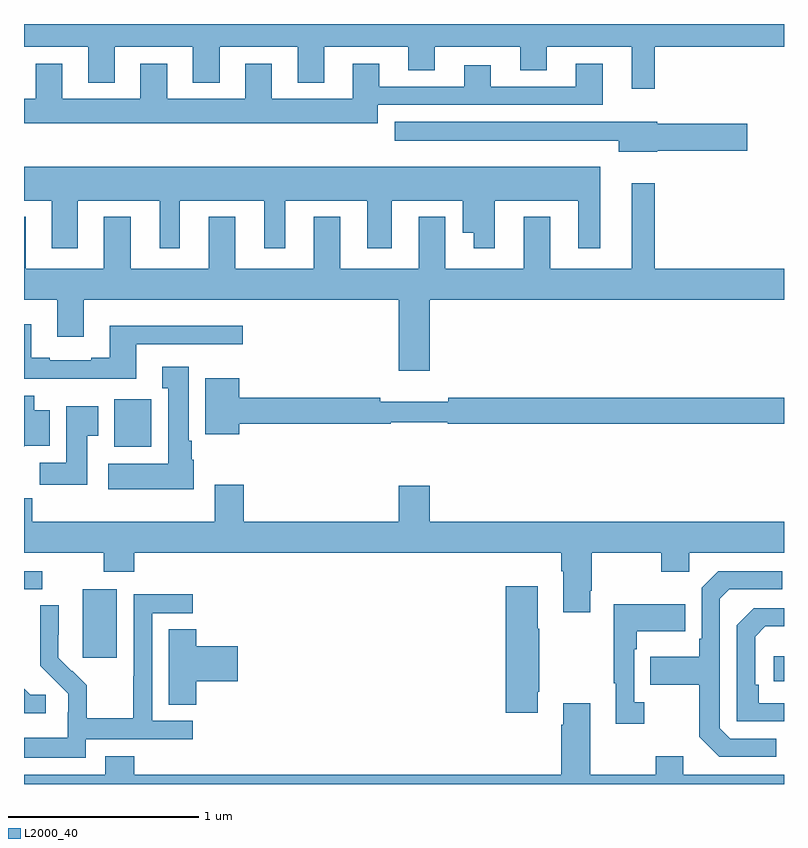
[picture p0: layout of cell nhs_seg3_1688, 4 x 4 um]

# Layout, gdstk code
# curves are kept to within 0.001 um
import gdstk
lib = gdstk.Library(unit=1e-6, precision=1e-09)
def R(c, l, rs):  # rectangles x0, y0, x1, y1
    for r in rs: c.add(gdstk.rectangle(r[:2], r[2:], *l))
def P(c, l, *ps):  # polygons
    for p in ps: c.add(gdstk.Polygon(p, *l))
L2000_40 = (2000, 40)

nhs_seg3_1688 = lib.new_cell('nhs_seg3_1688')
R(nhs_seg3_1688, L2000_40, [(202.947,666.942,203,667.072), (199.31,667.065,199.489,667.426), (199,667.425,199.096,667.521), (199.475,668.174,199.671,668.425)])
P(nhs_seg3_1688, L2000_40, [(202.321,670.28),(203,670.28),(203,670.4),(199,670.4),(199,670.28),(199.337,670.28),(199.337,670.091),(199.477,670.091),(199.477,670.28),(199.889,670.28),(199.889,670.091),(200.029,670.091),(200.029,670.28),(200.441,670.28),(200.441,670.091),(200.581,670.091),(200.581,670.28),(201.023,670.28),(201.023,670.156),(201.163,670.156),(201.163,670.28),(201.611,670.28),(201.611,670.156),(201.751,670.156),(201.751,670.28),(202.199,670.28),(202.199,670.059),(202.321,670.059)],
  [(200.863,669.975),(202.045,669.975),(202.045,670.192),(201.905,670.192),(201.905,670.071),(201.457,670.071),(201.457,670.183),(201.317,670.183),(201.317,670.071),(200.869,670.071),(200.869,670.192),(200.729,670.192),(200.729,670.006),(200.305,670.006),(200.305,670.192),(200.165,670.192),(200.165,670.006),(199.753,670.006),(199.753,670.192),(199.613,670.192),(199.613,670.006),(199.201,670.006),(199.201,670.192),(199.061,670.192),(199.061,670.006),(199,670.006),(199,669.878),(200.863,669.878)],
  [(202.332,669.734),(202.807,669.734),(202.807,669.876),(202.332,669.876),(202.332,669.886),(200.952,669.886),(200.952,669.785),(202.13,669.785),(202.13,669.728),(202.332,669.728)],
  [(199.282,669.47),(199.715,669.47),(199.715,669.219),(199.819,669.219),(199.819,669.47),(200.264,669.47),(200.264,669.219),(200.374,669.219),(200.374,669.47),(200.807,669.47),(200.807,669.219),(200.935,669.219),(200.935,669.47),(201.308,669.47),(201.308,669.302),(201.368,669.302),(201.368,669.219),(201.478,669.219),(201.478,669.47),(201.917,669.47),(201.917,669.219),(202.033,669.219),(202.033,669.649),(199,669.649),(199,669.47),(199.145,669.47),(199.145,669.219),(199.282,669.219)],
  [(201.136,668.948),(203,668.948),(203,669.112),(202.321,669.112),(202.321,669.562),(202.199,669.562),(202.199,669.112),(201.769,669.112),(201.769,669.385),(201.629,669.385),(201.629,669.112),(201.217,669.112),(201.217,669.385),(201.077,669.385),(201.077,669.112),(200.665,669.112),(200.665,669.385),(200.525,669.385),(200.525,669.112),(200.113,669.112),(200.113,669.385),(199.973,669.385),(199.973,669.112),(199.561,669.112),(199.561,669.385),(199.421,669.385),(199.421,669.112),(199.009,669.112),(199.009,669.385),(199,669.385),(199,668.948),(199.175,668.948),(199.175,668.754),(199.315,668.754),(199.315,668.948),(200.972,668.948),(200.972,668.574),(201.136,668.574)],
  [(199.591,668.715),(200.152,668.715),(200.152,668.812),(199.451,668.812),(199.451,668.644),(199.355,668.644),(199.355,668.631),(199.135,668.631),(199.135,668.644),(199.039,668.644),(199.039,668.821),(199,668.821),(199,668.534),(199.591,668.534)],
  [(199.894,668.106),(199.882,668.106),(199.882,668.206),(199.867,668.206),(199.867,668.596),(199.727,668.596),(199.727,668.483),(199.76,668.483),(199.76,668.086),(199.443,668.086),(199.443,667.952),(199.894,667.952)],
  [(200.134,668.296),(200.93,668.296),(200.93,668.304),(201.23,668.304),(201.23,668.296),(203,668.296),(203,668.432),(201.232,668.432),(201.232,668.413),(200.876,668.413),(200.876,668.432),(200.134,668.432),(200.134,668.536),(199.955,668.536),(199.955,668.24),(200.134,668.24)],
  [(199.002,668.18),(199.135,668.18),(199.135,668.368),(199.054,668.368),(199.054,668.443),(199,668.443),(199,668.174),(199.002,668.174)],
  [(199.333,668.233),(199.39,668.233),(199.39,668.389),(199.223,668.389),(199.223,668.092),(199.084,668.092),(199.084,667.974),(199.333,667.974)],
  [(201.979,667.417),(201.987,667.417),(201.987,667.616),(202.354,667.616),(202.354,667.517),(202.5,667.517),(202.5,667.616),(203,667.616),(203,667.78),(201.136,667.78),(201.136,667.969),(200.972,667.969),(200.972,667.78),(200.156,667.78),(200.156,667.975),(200.003,667.975),(200.003,667.78),(199.043,667.78),(199.043,667.904),(199,667.904),(199,667.616),(199.42,667.616),(199.42,667.517),(199.58,667.517),(199.58,667.616),(201.827,667.616),(201.827,667.52),(201.839,667.52),(201.839,667.305),(201.979,667.305)],
  [(202.96,666.639),(202.716,666.639),(202.662,666.693),(202.662,667.374),(202.713,667.425),(202.99,667.425),(202.99,667.521),(202.653,667.521),(202.566,667.434),(202.566,667.165),(202.554,667.165),(202.554,667.069),(202.297,667.069),(202.297,666.922),(202.554,666.922),(202.554,666.649),(202.659,666.543),(202.96,666.543)],
  [(201.703,666.886),(201.711,666.886),(201.711,667.217),(201.703,667.217),(201.703,667.441),(201.536,667.441),(201.536,666.774),(201.703,666.774)],
  [(199.326,666.636),(199.888,666.636),(199.888,666.732),(199.674,666.732),(199.674,667.299),(199.888,667.299),(199.888,667.398),(199.578,667.398),(199.578,666.968),(199.576,666.968),(199.576,666.745),(199.331,666.745),(199.331,666.919),(199.254,666.996),(199.251,666.993),(199.181,667.064),(199.182,667.34),(199.086,667.34),(199.086,667.022),(199.232,666.874),(199.232,666.777),(199.23,666.777),(199.23,666.643),(199,666.643),(199,666.539),(199.326,666.539)],
  [(202.264,666.83),(202.212,666.83),(202.212,667.109),(202.225,667.109),(202.225,667.205),(202.481,667.205),(202.481,667.345),(202.104,667.345),(202.104,666.929),(202.115,666.929),(202.115,666.717),(202.264,666.717)],
  [(203,666.825),(202.868,666.825),(202.868,666.922),(202.848,666.922),(202.848,667.176),(202.901,667.229),(203,667.229),(203,667.326),(202.842,667.326),(202.752,667.236),(202.752,666.729),(203,666.729)],
  [(199.907,666.941),(200.125,666.941),(200.125,667.124),(199.907,667.124),(199.907,667.214),(199.763,667.214),(199.763,666.817),(199.907,666.817)],
  [(199.114,666.87),(199.032,666.87),(199,666.902),(199,666.773),(199.114,666.773)],
  [(203,666.448),(202.471,666.448),(202.471,666.547),(202.324,666.547),(202.324,666.448),(201.979,666.448),(201.979,666.826),(201.839,666.826),(201.839,666.713),(201.827,666.713),(201.827,666.448),(199.58,666.448),(199.58,666.547),(199.427,666.547),(199.427,666.448),(199,666.448),(199,666.4),(203,666.4)])

lib.write_gds('nhs_seg3_1688.gds')
